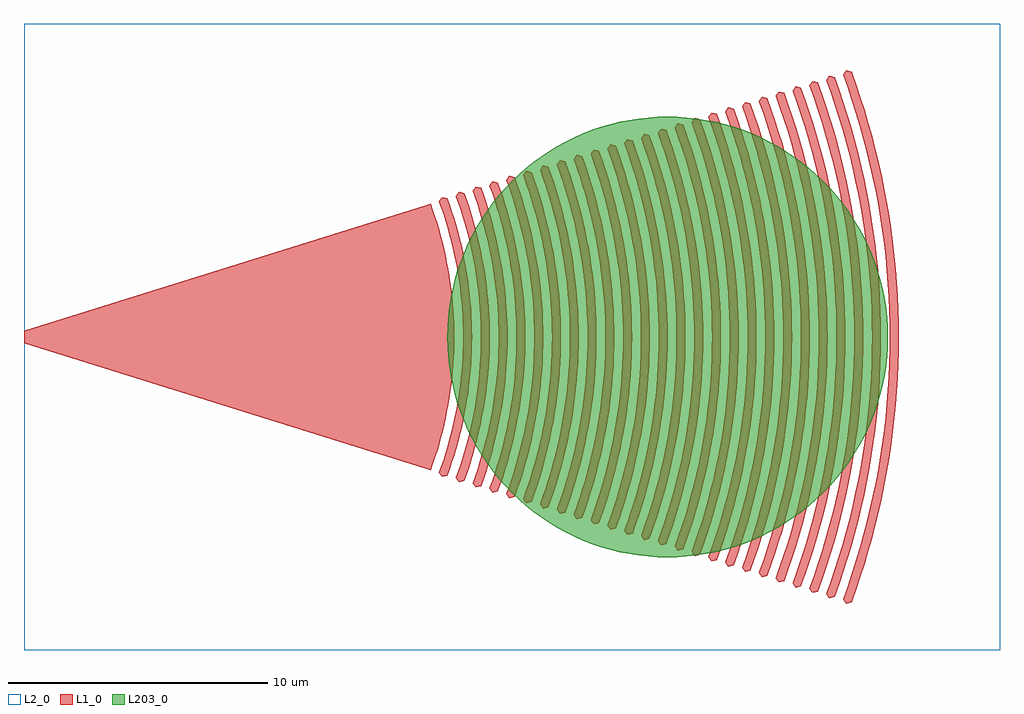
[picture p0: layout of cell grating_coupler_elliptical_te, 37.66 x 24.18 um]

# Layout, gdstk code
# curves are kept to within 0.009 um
import gdstk
lib = gdstk.Library(unit=1e-6, precision=1e-09)
def R(c, l, rs):  # rectangles x0, y0, x1, y1
    for r in rs: c.add(gdstk.rectangle(r[:2], r[2:], *l))
def P(c, l, *ps):  # polygons
    for p in ps: c.add(gdstk.Polygon(p, *l))
L1_0 = (1, 0)
L2_0 = (2, 0)
L203_0 = (203, 0)

grating_coupler_elliptic = lib.new_cell('grating_coupler_elliptical_te')
P(grating_coupler_elliptic, L1_0, [(16.134,-5.399),(16.01,-5.233),(16.268,-4.472),(16.485,-3.701),(16.66,-2.919),(16.793,-2.129),(16.859,-1.599),(16.906,-1.067),(16.934,-0.534),(16.942,0),(16.934,0.534),(16.906,1.067),(16.859,1.599),(16.793,2.129),(16.66,2.919),(16.485,3.701),(16.268,4.472),(16.01,5.233),(16.134,5.399),(16.333,5.349),(16.512,4.834),(16.674,4.312),(16.817,3.784),(16.94,3.252),(17.092,2.447),(17.2,1.635),(17.265,0.819),(17.286,0),(17.265,-0.819),(17.2,-1.635),(17.092,-2.447),(16.94,-3.252),(16.817,-3.784),(16.674,-4.312),(16.512,-4.834),(16.333,-5.349)],
  [(16.784,-5.602),(16.661,-5.437),(16.928,-4.646),(17.152,-3.845),(17.335,-3.032),(17.431,-2.486),(17.542,-1.661),(17.59,-1.109),(17.62,-0.555),(17.628,0),(17.62,0.555),(17.59,1.109),(17.542,1.661),(17.431,2.486),(17.335,3.032),(17.152,3.845),(16.928,4.646),(16.661,5.437),(16.784,5.602),(16.984,5.552),(17.17,5.018),(17.336,4.476),(17.485,3.928),(17.614,3.376),(17.771,2.54),(17.882,1.697),(17.95,0.85),(17.972,0),(17.95,-0.85),(17.882,-1.697),(17.771,-2.54),(17.614,-3.376),(17.485,-3.928),(17.336,-4.476),(17.17,-5.018),(16.984,-5.552)],
  [(17.434,-5.806),(17.311,-5.64),(17.588,-4.82),(17.748,-4.267),(17.952,-3.428),(18.11,-2.579),(18.224,-1.723),(18.274,-1.15),(18.305,-0.575),(18.314,0),(18.305,0.575),(18.274,1.15),(18.224,1.723),(18.11,2.579),(17.952,3.428),(17.748,4.267),(17.588,4.82),(17.311,5.64),(17.434,5.806),(17.634,5.756),(17.826,5.202),(18,4.64),(18.152,4.072),(18.286,3.5),(18.448,2.633),(18.564,1.76),(18.634,0.881),(18.658,0),(18.634,-0.881),(18.564,-1.76),(18.448,-2.633),(18.286,-3.5),(18.152,-4.072),(18,-4.64),(17.826,-5.202),(17.634,-5.756)],
  [(18.082,-6.009),(17.96,-5.844),(18.248,-4.994),(18.414,-4.421),(18.623,-3.552),(18.789,-2.672),(18.872,-2.082),(18.936,-1.489),(18.991,-0.596),(19,0),(18.991,0.596),(18.936,1.489),(18.872,2.082),(18.789,2.672),(18.623,3.552),(18.414,4.421),(18.248,4.994),(17.96,5.844),(18.082,6.009),(18.283,5.959),(18.482,5.386),(18.662,4.804),(18.822,4.216),(18.96,3.624),(19.128,2.726),(19.248,1.822),(19.32,0.912),(19.344,0),(19.32,-0.912),(19.248,-1.822),(19.128,-2.726),(18.96,-3.624),(18.822,-4.216),(18.662,-4.804),(18.482,-5.386),(18.283,-5.959)],
  [(18.732,-6.213),(18.61,-6.047),(18.814,-5.462),(19.079,-4.575),(19.296,-3.675),(19.468,-2.765),(19.554,-2.154),(19.62,-1.541),(19.677,-0.617),(19.686,0),(19.677,0.617),(19.62,1.541),(19.554,2.154),(19.468,2.765),(19.296,3.675),(19.079,4.575),(18.814,5.462),(18.61,6.047),(18.732,6.213),(18.933,6.163),(19.14,5.569),(19.324,4.968),(19.49,4.36),(19.632,3.747),(19.806,2.819),(19.93,1.884),(20.006,0.943),(20.03,0),(20.006,-0.943),(19.93,-1.884),(19.806,-2.819),(19.632,-3.747),(19.49,-4.36),(19.324,-4.968),(19.14,-5.569),(18.933,-6.163)],
  [(19.382,-6.416),(19.26,-6.251),(19.567,-5.342),(19.744,-4.729),(19.97,-3.799),(20.146,-2.858),(20.236,-2.227),(20.329,-1.275),(20.362,-0.638),(20.372,0),(20.362,0.638),(20.329,1.275),(20.236,2.227),(20.146,2.858),(19.97,3.799),(19.744,4.729),(19.567,5.342),(19.26,6.251),(19.382,6.416),(19.582,6.366),(19.796,5.753),(19.988,5.132),(20.158,4.504),(20.306,3.871),(20.485,2.913),(20.613,1.946),(20.69,0.974),(20.716,0),(20.69,-0.974),(20.613,-1.946),(20.485,-2.913),(20.306,-3.871),(20.158,-4.504),(19.988,-5.132),(19.796,-5.753),(19.582,-6.366)],
  [(20.033,-6.62),(19.91,-6.454),(20.226,-5.516),(20.41,-4.883),(20.643,-3.923),(20.824,-2.951),(20.917,-2.299),(20.987,-1.644),(21.048,-0.658),(21.058,0),(21.048,0.658),(20.987,1.644),(20.917,2.299),(20.824,2.951),(20.643,3.923),(20.41,4.883),(20.226,5.516),(19.91,6.454),(20.033,6.62),(20.232,6.57),(20.452,5.937),(20.65,5.296),(20.826,4.648),(20.978,3.995),(21.164,3.006),(21.296,2.008),(21.376,1.006),(21.402,0),(21.376,-1.006),(21.296,-2.008),(21.164,-3.006),(20.978,-3.995),(20.826,-4.648),(20.65,-5.296),(20.452,-5.937),(20.232,-6.57)],
  [(20.681,-6.823),(20.558,-6.658),(20.887,-5.69),(21.076,-5.037),(21.315,-4.046),(21.503,-3.044),(21.638,-2.034),(21.698,-1.358),(21.734,-0.679),(21.744,0),(21.734,0.679),(21.698,1.358),(21.638,2.034),(21.503,3.044),(21.315,4.046),(21.076,5.037),(20.887,5.69),(20.558,6.658),(20.681,6.823),(20.882,6.773),(20.998,6.449),(21.214,5.791),(21.406,5.127),(21.576,4.456),(21.72,3.78),(21.894,2.757),(22.012,1.726),(22.061,1.037),(22.088,0),(22.061,-1.037),(22.012,-1.726),(21.894,-2.757),(21.72,-3.78),(21.576,-4.456),(21.406,-5.127),(21.214,-5.791),(20.998,-6.449),(20.882,-6.773)],
  [(21.332,-7.027),(21.208,-6.861),(21.546,-5.864),(21.83,-4.852),(21.988,-4.17),(22.182,-3.138),(22.32,-2.097),(22.382,-1.399),(22.418,-0.7),(22.43,0),(22.418,0.7),(22.382,1.399),(22.32,2.097),(22.182,3.138),(21.988,4.17),(21.83,4.852),(21.546,5.864),(21.208,6.861),(21.332,7.027),(21.532,6.977),(21.652,6.643),(21.873,5.965),(22.071,5.281),(22.245,4.59),(22.396,3.893),(22.521,3.192),(22.662,2.133),(22.745,1.068),(22.774,0),(22.745,-1.068),(22.662,-2.133),(22.521,-3.192),(22.396,-3.893),(22.245,-4.59),(22.071,-5.281),(21.873,-5.965),(21.652,-6.643),(21.532,-6.977)],
  [(21.982,-7.23),(21.859,-7.065),(22.205,-6.038),(22.498,-4.996),(22.662,-4.294),(22.86,-3.231),(22.962,-2.517),(23.067,-1.441),(23.104,-0.721),(23.116,0),(23.104,0.721),(23.067,1.441),(22.962,2.517),(22.86,3.231),(22.662,4.294),(22.498,4.996),(22.205,6.038),(21.859,7.065),(21.982,7.23),(22.182,7.18),(22.305,6.836),(22.534,6.139),(22.738,5.435),(22.997,4.366),(23.198,3.285),(23.344,2.195),(23.43,1.099),(23.46,0),(23.43,-1.099),(23.344,-2.195),(23.198,-3.285),(22.997,-4.366),(22.738,-5.435),(22.534,-6.139),(22.305,-6.836),(22.182,-7.18)],
  [(22.632,-7.434),(22.509,-7.268),(22.866,-6.212),(23.166,-5.14),(23.335,-4.417),(23.539,-3.324),(23.644,-2.589),(23.722,-1.852),(23.79,-0.742),(23.802,0),(23.79,0.742),(23.722,1.852),(23.644,2.589),(23.539,3.324),(23.335,4.417),(23.166,5.14),(22.866,6.212),(22.509,7.268),(22.632,7.434),(22.832,7.384),(22.958,7.03),(23.302,5.952),(23.498,5.224),(23.67,4.489),(23.878,3.378),(24.027,2.257),(24.116,1.13),(24.146,0),(24.116,-1.13),(24.027,-2.257),(23.878,-3.378),(23.67,-4.489),(23.498,-5.224),(23.302,-5.952),(22.958,-7.03),(22.832,-7.384)],
  [(23.28,-7.637),(23.158,-7.472),(23.41,-6.75),(23.738,-5.653),(24.006,-4.541),(24.218,-3.417),(24.324,-2.662),(24.406,-1.904),(24.476,-0.762),(24.488,0),(24.476,0.762),(24.406,1.904),(24.324,2.662),(24.218,3.417),(24.006,4.541),(23.738,5.653),(23.41,6.75),(23.158,7.472),(23.28,7.637),(23.481,7.587),(23.736,6.856),(23.964,6.116),(24.167,5.368),(24.42,4.234),(24.557,3.471),(24.71,2.319),(24.802,1.161),(24.832,0),(24.802,-1.161),(24.71,-2.319),(24.557,-3.471),(24.42,-4.234),(24.167,-5.368),(23.964,-6.116),(23.736,-6.856),(23.481,-7.587)],
  [(23.93,-7.841),(23.808,-7.675),(24.184,-6.56),(24.402,-5.807),(24.68,-4.665),(24.896,-3.51),(25.051,-2.345),(25.12,-1.565),(25.162,-0.783),(25.174,0),(25.162,0.783),(25.12,1.565),(25.051,2.345),(24.896,3.51),(24.68,4.665),(24.402,5.807),(24.184,6.56),(23.808,7.675),(23.93,7.841),(24.131,7.791),(24.391,7.04),(24.626,6.28),(24.835,5.512),(25.096,4.347),(25.295,3.171),(25.43,1.986),(25.487,1.192),(25.518,0),(25.487,-1.192),(25.43,-1.986),(25.295,-3.171),(25.096,-4.347),(24.835,-5.512),(24.626,-6.28),(24.391,-7.04),(24.131,-7.791)],
  [(24.58,-8.044),(24.458,-7.879),(24.844,-6.734),(25.17,-5.572),(25.434,-4.395),(25.574,-3.603),(25.734,-2.407),(25.804,-1.607),(25.847,-0.804),(25.86,0),(25.847,0.804),(25.804,1.607),(25.734,2.407),(25.574,3.603),(25.434,4.395),(25.17,5.572),(24.844,6.734),(24.458,7.879),(24.58,8.044),(24.78,7.994),(25.048,7.224),(25.4,6.051),(25.598,5.259),(25.771,4.461),(25.975,3.254),(26.115,2.038),(26.19,0.816),(26.204,0),(26.19,-0.816),(26.115,-2.038),(25.975,-3.254),(25.771,-4.461),(25.598,-5.259),(25.4,-6.051),(25.048,-7.224),(24.78,-7.994)],
  [(25.231,-8.248),(25.108,-8.082),(25.504,-6.908),(25.734,-6.115),(26.025,-4.912),(26.254,-3.696),(26.37,-2.879),(26.457,-2.059),(26.533,-0.825),(26.546,0),(26.533,0.825),(26.457,2.059),(26.37,2.879),(26.254,3.696),(26.025,4.912),(25.734,6.115),(25.504,6.908),(25.108,8.082),(25.231,8.248),(25.43,8.198),(25.704,7.408),(26.064,6.205),(26.269,5.393),(26.446,4.574),(26.655,3.336),(26.798,2.089),(26.876,0.837),(26.89,0),(26.876,-0.837),(26.798,-2.089),(26.655,-3.336),(26.446,-4.574),(26.269,-5.393),(26.064,-6.205),(25.704,-7.408),(25.43,-8.198)],
  [(25.879,-8.451),(25.756,-8.286),(26.036,-7.485),(26.4,-6.269),(26.698,-5.036),(26.932,-3.789),(27.051,-2.952),(27.174,-1.69),(27.219,-0.845),(27.232,0),(27.219,0.845),(27.174,1.69),(27.051,2.952),(26.932,3.789),(26.698,5.036),(26.4,6.269),(26.036,7.485),(25.756,8.286),(25.879,8.451),(26.08,8.401),(26.362,7.592),(26.731,6.359),(26.94,5.527),(27.121,4.688),(27.335,3.419),(27.482,2.141),(27.542,1.286),(27.576,0),(27.542,-1.286),(27.482,-2.141),(27.335,-3.419),(27.121,-4.688),(26.94,-5.527),(26.731,-6.359),(26.362,-7.592),(26.08,-8.401)],
  [(26.53,-8.655),(26.406,-8.489),(26.824,-7.256),(27.174,-6.004),(27.372,-5.16),(27.61,-3.882),(27.732,-3.024),(27.824,-2.163),(27.903,-0.866),(27.918,0),(27.903,0.866),(27.824,2.163),(27.732,3.024),(27.61,3.882),(27.372,5.16),(27.174,6.004),(26.824,7.256),(26.406,8.489),(26.53,8.655),(26.73,8.605),(27.018,7.776),(27.396,6.513),(27.61,5.66),(27.796,4.801),(28.015,3.502),(28.166,2.193),(28.228,1.317),(28.262,0),(28.228,-1.317),(28.166,-2.193),(28.015,-3.502),(27.796,-4.801),(27.61,-5.66),(27.396,-6.513),(27.018,-7.776),(26.73,-8.605)],
  [(27.18,-8.858),(27.057,-8.693),(27.484,-7.43),(27.731,-6.577),(28.045,-5.283),(28.289,-3.975),(28.414,-3.097),(28.507,-2.215),(28.57,-1.33),(28.602,-0.443),(28.604,0),(28.602,0.443),(28.57,1.33),(28.507,2.215),(28.414,3.097),(28.289,3.975),(28.045,5.283),(27.731,6.577),(27.484,7.43),(27.057,8.693),(27.18,8.858),(27.379,8.808),(27.674,7.96),(27.94,7.1),(28.176,6.231),(28.47,4.915),(28.694,3.585),(28.85,2.245),(28.932,0.899),(28.948,0),(28.932,-0.899),(28.85,-2.245),(28.694,-3.585),(28.47,-4.915),(28.176,-6.231),(27.94,-7.1),(27.674,-7.96),(27.379,-8.808)],
  [(27.83,-9.062),(27.707,-8.896),(28.144,-7.604),(28.396,-6.731),(28.716,-5.407),(28.967,-4.068),(29.095,-3.169),(29.228,-1.814),(29.274,-0.908),(29.29,0),(29.274,0.908),(29.228,1.814),(29.095,3.169),(28.967,4.068),(28.716,5.407),(28.396,6.731),(28.144,7.604),(27.707,8.896),(27.83,9.062),(28.03,9.012),(28.332,8.144),(28.603,7.264),(28.844,6.375),(29.144,5.028),(29.307,4.123),(29.374,3.668),(29.436,3.212),(29.533,2.297),(29.598,1.379),(29.634,0),(29.598,-1.379),(29.533,-2.297),(29.436,-3.212),(29.374,-3.668),(29.307,-4.123),(29.144,-5.028),(28.844,-6.375),(28.603,-7.264),(28.332,-8.144),(28.03,-9.012)],
  [(28.478,-9.265),(28.356,-9.1),(28.662,-8.22),(29.062,-6.885),(29.39,-5.531),(29.646,-4.161),(29.777,-3.242),(29.912,-1.856),(29.96,-0.928),(29.976,0),(29.96,0.928),(29.912,1.856),(29.777,3.242),(29.646,4.161),(29.39,5.531),(29.062,6.885),(28.662,8.22),(28.356,9.1),(28.478,9.265),(28.679,9.215),(28.988,8.327),(29.393,6.975),(29.622,6.062),(29.82,5.142),(30.056,3.75),(30.216,2.349),(30.304,0.94),(30.32,0),(30.304,-0.94),(30.216,-2.349),(30.056,-3.75),(29.82,-5.142),(29.622,-6.062),(29.393,-6.975),(28.988,-8.327),(28.679,-9.215)],
  [(29.128,-9.469),(29.006,-9.303),(29.463,-7.952),(29.847,-6.58),(30.158,-5.189),(30.324,-4.255),(30.458,-3.314),(30.597,-1.897),(30.646,-0.949),(30.662,0),(30.646,0.949),(30.597,1.897),(30.458,3.314),(30.324,4.255),(30.158,5.189),(29.847,6.58),(29.463,7.952),(29.006,9.303),(29.128,9.469),(29.329,9.419),(29.644,8.511),(29.929,7.592),(30.18,6.663),(30.399,5.727),(30.494,5.255),(30.664,4.309),(30.854,2.879),(30.967,1.442),(30.99,0.961),(31.006,0),(30.99,-0.961),(30.967,-1.442),(30.854,-2.879),(30.664,-4.309),(30.494,-5.255),(30.399,-5.727),(30.18,-6.663),(29.929,-7.592),(29.644,-8.511),(29.329,-9.419)],
  [(29.778,-9.672),(29.656,-9.507),(29.976,-8.588),(30.122,-8.126),(30.516,-6.723),(30.736,-5.778),(31.004,-4.348),(31.14,-3.387),(31.243,-2.422),(31.31,-1.455),(31.348,0),(31.31,1.455),(31.243,2.422),(31.14,3.387),(31.004,4.348),(30.736,5.778),(30.516,6.723),(30.122,8.126),(29.976,8.588),(29.656,9.507),(29.778,9.672),(29.978,9.622),(30.301,8.695),(30.591,7.756),(30.848,6.807),(31.17,5.369),(31.342,4.402),(31.536,2.941),(31.653,1.473),(31.692,0),(31.653,-1.473),(31.536,-2.941),(31.342,-4.402),(31.17,-5.369),(30.848,-6.807),(30.591,-7.756),(30.301,-8.695),(29.978,-9.622)],
  [(30.429,-9.876),(30.306,-9.71),(30.783,-8.3),(31.184,-6.867),(31.508,-5.416),(31.681,-4.441),(31.756,-3.951),(31.878,-2.967),(31.965,-1.98),(32.017,-0.991),(32.034,0),(32.017,0.991),(31.965,1.98),(31.878,2.967),(31.756,3.951),(31.681,4.441),(31.508,5.416),(31.184,6.867),(30.783,8.3),(30.306,9.71),(30.429,9.876),(30.628,9.826),(30.958,8.879),(31.39,7.437),(31.634,6.464),(31.844,5.483),(32.02,4.495),(32.22,3.003),(32.308,2.004),(32.338,1.504),(32.378,0),(32.338,-1.504),(32.308,-2.004),(32.22,-3.003),(32.02,-4.495),(31.844,-5.483),(31.634,-6.464),(31.39,-7.437),(30.958,-8.879),(30.628,-9.826)],
  [(31.078,-10.079),(30.955,-9.914),(31.442,-8.473),(31.851,-7.011),(32.184,-5.53),(32.36,-4.534),(32.502,-3.532),(32.61,-2.526),(32.65,-2.022),(32.703,-1.011),(32.72,0),(32.703,1.011),(32.65,2.022),(32.61,2.526),(32.502,3.532),(32.36,4.534),(32.184,5.53),(31.851,7.011),(31.442,8.473),(30.955,9.914),(31.078,10.079),(31.278,10.029),(31.614,9.063),(31.916,8.084),(32.184,7.095),(32.519,5.596),(32.614,5.093),(32.776,4.082),(32.952,2.556),(33.046,1.024),(33.064,0),(33.046,-1.024),(32.952,-2.556),(32.776,-4.082),(32.614,-5.093),(32.519,-5.596),(32.184,-7.095),(31.916,-8.084),(31.614,-9.063),(31.278,-10.029)],
  [(31.727,-10.283),(31.604,-10.117),(31.944,-9.14),(32.39,-7.655),(32.754,-6.149),(33.04,-4.627),(33.184,-3.605),(33.294,-2.578),(33.366,-1.548),(33.402,-0.516),(33.406,0),(33.402,0.516),(33.366,1.548),(33.294,2.578),(33.184,3.605),(33.04,4.627),(32.754,6.149),(32.39,7.655),(31.944,9.14),(31.604,10.117),(31.727,10.283),(31.928,10.233),(32.104,9.742),(32.43,8.749),(32.58,8.248),(32.852,7.239),(32.976,6.731),(33.194,5.71),(33.378,4.681),(33.456,4.165),(33.584,3.128),(33.676,2.087),(33.708,1.566),(33.732,1.044),(33.75,0),(33.732,-1.044),(33.708,-1.566),(33.676,-2.087),(33.584,-3.128),(33.456,-4.165),(33.378,-4.681),(33.194,-5.71),(32.976,-6.731),(32.852,-7.239),(32.58,-8.248),(32.43,-8.749),(32.104,-9.742),(31.928,-10.233)],
  [(0,0.25),(0,-0.25),(15.522,-5.088),(15.772,-4.349),(15.95,-3.724),(16.127,-2.966),(16.244,-2.327),(16.359,-1.426),(16.392,-1.038),(16.423,-0.389),(16.419,0.519),(16.359,1.426),(16.244,2.327),(16.072,3.22),(15.95,3.724),(15.81,4.225),(15.522,5.088)],
  [(15.361,-5.03),(15.682,-4.052),(15.816,-3.557),(15.984,-2.805),(16.147,-1.792),(16.201,-1.281),(16.248,-0.513),(16.254,0.257),(16.237,0.769),(16.176,1.537),(16.074,2.3),(15.933,3.057),(15.816,3.557),(15.609,4.298),(15.361,5.03),(15.684,5.145),(15.936,4.4),(16.083,3.895),(16.268,3.129),(16.412,2.354),(16.516,1.573),(16.58,0.788),(16.601,0),(16.591,-0.525),(16.543,-1.312),(16.452,-2.094),(16.37,-2.613),(16.268,-3.129),(16.083,-3.895),(15.936,-4.4),(15.684,-5.145)])
R(grating_coupler_elliptic, L2_0, [(0,-12.09,37.657,12.09)])
P(grating_coupler_elliptic, L203_0, [(33.332,0),(33.3,0.741),(33.203,1.476),(33.131,1.84),(32.939,2.556),(32.685,3.253),(32.372,3.925),(32.001,4.567),(31.576,5.174),(31.099,5.743),(30.842,6.01),(30.575,6.267),(30.006,6.744),(29.399,7.169),(28.757,7.54),(28.085,7.853),(27.388,8.107),(26.672,8.299),(26.308,8.371),(25.573,8.468),(24.832,8.5),(24.091,8.468),(23.356,8.371),(22.992,8.299),(22.276,8.107),(21.579,7.853),(20.907,7.54),(20.265,7.169),(19.658,6.744),(19.089,6.267),(18.822,6.01),(18.565,5.743),(18.088,5.174),(17.663,4.567),(17.292,3.925),(16.979,3.253),(16.725,2.556),(16.533,1.84),(16.461,1.476),(16.364,0.741),(16.332,0),(16.364,-0.741),(16.461,-1.476),(16.533,-1.84),(16.725,-2.556),(16.979,-3.253),(17.292,-3.925),(17.663,-4.567),(18.088,-5.174),(18.565,-5.743),(18.822,-6.01),(19.089,-6.267),(19.658,-6.744),(20.265,-7.169),(20.907,-7.54),(21.579,-7.853),(22.276,-8.107),(22.992,-8.299),(23.356,-8.371),(24.091,-8.468),(24.832,-8.5),(25.573,-8.468),(26.308,-8.371),(26.672,-8.299),(27.388,-8.107),(28.085,-7.853),(28.757,-7.54),(29.399,-7.169),(30.006,-6.744),(30.575,-6.267),(30.842,-6.01),(31.099,-5.743),(31.576,-5.174),(32.001,-4.567),(32.372,-3.925),(32.685,-3.253),(32.939,-2.556),(33.131,-1.84),(33.203,-1.476),(33.3,-0.741)])

lib.write_gds('grating_coupler_elliptical_te.gds')
